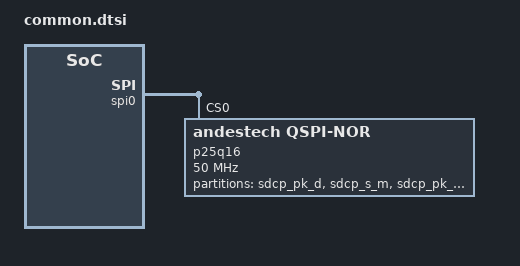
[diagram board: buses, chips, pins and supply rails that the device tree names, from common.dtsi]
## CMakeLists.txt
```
# Copyright 2025 The ChromiumOS Authors
# Use of this source code is governed by a BSD-style license that can be
# found in the LICENSE file.
# SPDX-License-Identifier: Apache-2.0

set(EXPECTED_ROLLBACK_VERSION 0)

if(NOT CONFIG_PLATFORM_EC_ROLLBACK_VERSION EQUAL EXPECTED_ROLLBACK_VERSION)
	message(FATAL_ERROR "Rollback version has changed! Expected ${EXPECTED_ROLLBACK_VERSION}, but ${CONFIG_PLATFORM_EC_ROLLBACK_VERSION} is set.")
endif()

zephyr_library_sources("src/platform.c")
zephyr_library_sources("src/flash_qspi.c")

if(DEFINED CONFIG_CROS_EC_RO)

set(flash_header_output_bin ${CMAKE_BINARY_DIR}/flash_header.bin)
zephyr_file_copy(flash_header.bin ${flash_header_output_bin})

endif()
```

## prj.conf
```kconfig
# Copyright 2025 The ChromiumOS Authors
# Use of this source code is governed by a BSD-style license that can be
# found in the LICENSE file.

CONFIG_BOARD_ET171=y

CONFIG_PLATFORM_EC_NOINIT_END_OF_RAM_SECTION=n
CONFIG_PLATFORM_EC_FLASH_SIZE_BYTES=200000
CONFIG_XIP=y

# Do not use partition for code, because the code location is different for RO
# and RW
CONFIG_USE_DT_CODE_PARTITION=n

CONFIG_EXCEPTION_DEBUG=y
CONFIG_PLATFORM_EC_ROLLBACK_MPU_PROTECT=y

# Watchdog related configs
# Maximum watchdog period for atcwdt200 is 500ms. Many operations in the FP
# application takes hundreds of milliseconds or even more, e.g. RWSIG, flash
# operations, FP related calculations. Combining such two actions in series
# would lead to watchdog reset, thus we are forced to disable watchdog.
CONFIG_WDT_DISABLE_AT_BOOT=y
# The tick hook is used only for watchdog reload for FPMCU
CONFIG_PLATFORM_EC_HOOK_TICK=n

# Enable USB for HC
CONFIG_UDC_DRIVER=y
CONFIG_USB_DEVICE_STACK_NEXT=y
# 2kB looks sufficient, but add additional margin for future changes
CONFIG_UDC_BUF_POOL_SIZE=3072
CONFIG_USBD_THREAD_STACK_SIZE=2048
CONFIG_UDC_ET171_WORKQUEUE_STACK_SIZE=2048
CONFIG_SYSTEM_WORKQUEUE_STACK_SIZE=2048
CONFIG_USB_DEVICE_MAX_POWER=250

CONFIG_USB_DEVICE_MANUFACTURER="Google"
CONFIG_USB_DEVICE_PRODUCT="FPMCU"
CONFIG_USB_DEVICE_VID=0x18D1
CONFIG_USB_DEVICE_SELF_POWERED=n
CONFIG_USB_DEVICE_REMOTE_WAKEUP=y
CONFIG_USB_DEVICE_SN="0"
CONFIG_USB_DEVICE_SN_HWINFO=y

# Use USB for signaling MKBP events
CONFIG_PLATFORM_EC_MKBP_USE_GPIO=n
CONFIG_PLATFORM_EC_MKBP_USE_USB=y

# Sizes adjusted for 512 bytes payload for write and read flash host commands
CONFIG_EC_HOST_CMD_HANDLER_RX_BUFFER_SIZE=528
CONFIG_EC_HOST_CMD_HANDLER_TX_BUFFER_SIZE=520

CONFIG_FPU_SHARING=n
CONFIG_FLOAT_HARD=y

# SPI/Flash related configs
CONFIG_SPI_NOR=n
CONFIG_FLASH_ANDES_QSPI=n
CONFIG_FLASH_ANDES_QSPI_XIP_COUNT_REGS=y
CONFIG_HEAP_MEM_POOL_SIZE=1024

# BBRAM not supported on ET171, use RAM instead
CONFIG_BBRAM=n
CONFIG_RETAINED_MEM=y
CONFIG_RETAINED_MEM_INIT_PRIORITY=15
CONFIG_CACHE_ANDES_INIT_PRIORITY=10
CONFIG_RETAINED_MEM_MUTEX_FORCE_DISABLE=y

# Use standar 0.1ms tick
CONFIG_SYS_CLOCK_TICKS_PER_SEC=10000

# No access to hardware WP pin, use external method
CONFIG_PLATFORM_EC_WP_EXTERNAL=y

# FPS related configs
CONFIG_FINGERPRINT_SENSOR_EGIS630_HEAP_SIZE=153600

# Enable the fp vendor command to get MT data
CONFIG_PLATFORM_EC_FINGERPRINT_VENDOR_COMMAND=y

# Make possibility to enter bootloader
CONFIG_PLATFORM_EC_HOST_COMMAND_ENTER_BOOTLOADER=y

# Disable kernel shell, becasue it requires addtional 5kB of flash
CONFIG_KERNEL_SHELL=n

# The flash shell requires page layout which is not supported
CONFIG_FLASH_SHELL=n

# Make sure to start shell before main
CONFIG_PLATFORM_EC_CONSOLE_START_SHELL_TASK=y

# RISCV PMP entry configurations
# b/406946889: Allow modifying PMP entries so that we can reconfigure them
# when jumping between RO and RW.
CONFIG_PMP_NO_LOCK_GLOBAL=y
CONFIG_NULL_POINTER_EXCEPTION_DETECTION_PMP=y
CONFIG_HW_STACK_PROTECTION=y

# Use EGIS ET171's secure OTP storage for keys.
CONFIG_EGIS_ET171_OTP_KEY=y

# Current rollback version value.
CONFIG_PLATFORM_EC_ROLLBACK_VERSION=2

# ASCP s_goog replacement
CONFIG_ASCP_S_GOOG_MATCH_FILE="s_goog_match.bin"
CONFIG_ASCP_S_GOOG_REPLACE_FILE="s_goog_replace.bin"

# Enable signaling logs via events to allow autosuspend
CONFIG_PLATFORM_EC_HOSTCMD_CONSOLE_EVENT=y

# Enable ChromeOS EC log backend for UART shell and timberslide
CONFIG_PLATFORM_EC_LOG_BACKEND_CONSOLE_BUFFER=n
CONFIG_PLATFORM_EC_LOG_BACKEND_CONSOLE_BUFFER_REDUCED=n
CONFIG_PLATFORM_EC_LOG_BACKEND_CROS_EC=y
CONFIG_PLATFORM_EC_LOG_BACKEND_CROS_EC_REDUCED=y
```

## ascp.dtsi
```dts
/* Copyright 2026 The ChromiumOS Authors.
 * Use of this source code is governed by a BSD-style license that can be
 * found in the LICENSE file.
 */

/ {
	ascp: ascp_node {
		compatible = "ascp,mem-map";
		pk-m = <0x80000138>;
		s-goog = <0x80000179>;
		pk-d = <0x80000035>;
		s-m = <0x80000076>;
		pk-f = <0x90000060>;
		h-f = <0x90000000>;
		s-d = <0x90000020>;
		sk-f = <0x900000A1>;
	};
};
```

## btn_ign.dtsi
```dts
/* Copyright 2026 The ChromiumOS Authors
 * Use of this source code is governed by a BSD-style license that can be
 * found in the LICENSE file.
 */

/ {
	aliases {
		gpio-btn-ign-out = &gpio_btn_ign_out;
	};

	gpio-leds {
		compatible = "gpio-leds"; /* Common pattern in Zephyr for GPIO outputs */

		gpio_btn_ign_out: gpio_btn_ign_out {
			gpios = <&gpio0 2 GPIO_ACTIVE_HIGH>;
		};
	};
};
```

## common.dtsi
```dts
/* Copyright 2025 The ChromiumOS Authors.
 * Use of this source code is governed by a BSD-style license that can be
 * found in the LICENSE file.
 */

#include <egis/common_priv.dtsi>
#include <zephyr/dt-bindings/memory-attr/memory-attr-riscv.h>

#include "soc.dtsi"
#include "gpio.dtsi"
#include "rwsig.dtsi"
//#include "ascp.dtsi"

#include <cros/integrated_fwid.dtsi>
#include <cros/integrated_ro_frid.dtsi>

/ {
	chosen {
		cros-fp,fingerprint-sensor = &fp_sensor;
		cros-ec,flash = &p25q16;
		zephyr,flash = &p25q16;
		zephyr,flash-controller = &p25q16;
		flash-header = &flash_header;
	};

	named-bbram-regions {
		compatible = "named-bbram-regions";

		scratchpad {
			offset = <0x00>;
			size = <0x02>;
		};
		saved-reset-flags {
			offset = <0x02>;
			size = <0x04>;
		};
		saved-panic-reason {
			offset = <0x06>;
			size = <0x02>;
		};
		saved-panic-info {
			offset = <0x08>;
			size = <0x02>;
		};
		saved-panic-exception {
			offset = <0x0a>;
			size = <0x02>;
		};
		saved-panic-flags {
			offset = <0x0c>;
			size = <0x02>;
		};
	};


	/* Map the sections to fit the flash chip protection table */
	binman {
		/* SDCP flash header 4kB */

		/* Fill 1/4 of 1MB */
		wp-ro {
			size = <0x40000>;
			flash-header {
				offset = <0x0>;
				size = <0x1000>;
				type = "blob";
				filename = "../build-ro/flash_header.bin";
			};
			ec-ro {
				offset = <0x1000>;
				size = <(0x40000 - 0x1000)>;
				pad-byte = <0xff>;
				ro-fw {
					/*
					 * Clang doesn't emit STT_SECTION symbols (also
					 * called 'section symbols'), so 'rom_start'
					 * symbol is not available. Fortunately, Zephyr
					 * linker scripts provide '__rom_start_address'
					 * symbol which points to the beginning of
					 * 'rom_start' section.
					 */
					elf-base-sym = "__rom_start_address";
				};
			};
		};

		/* Use the rest for RW + Rollbacks. Erase unit(4kB) per rollback */
		rollback0 {
			offset = <0x40000>;
			size = <0x1000>;
			type = "blob";
			filename = "../build-rw/rollback_initial_data.bin";
		};

		rollback1 {
			offset = <0x41000>;
			size = <0x1000>;
			type = "blob";
			filename = "../build-rw/rollback_initial_data.bin";
		};

		ec-rw {
			offset = <0x42000>;
			size = <0xbe000>;
			rw-fw {
				/*
				 * Clang doesn't emit STT_SECTION symbols (also
				 * called 'section symbols'), so 'rom_start'
				 * symbol is not available. Fortunately, Zephyr
				 * linker scripts provide '__rom_start_address'
				 * symbol which points to the beginning of
				 * 'rom_start' section.
				 */
				zephyr-rw {
					elf-base-sym = "__rom_start_address";
				};
			};
		};
		pad-byte = <0xff>;
	};
};

&spi0 {
	p25q16: qspi-nor-flash@0 {
		compatible = "andestech,qspi-nor", "jedec,spi-nor";
		reg = <0>;
		spi-max-frequency = <50000000>;
		size = <DT_SIZE_K(2048)>;
		spi-frequency = <50000000>;
		status = "okay";
	};
};

&p25q16 {
	partitions {
		compatible = "fixed-partitions";
		#address-cells = <1>;
		#size-cells = <1>;

		sdcp_pk_d: partition@35 {
			label = "sdcp_pk_d";
			reg = <0x35 65>;
		};

		sdcp_s_m: partition@76 {
			label = "sdcp_s_m";
			reg = <0x76 64>;
		};

		sdcp_pk_m: partition@138 {
			label = "sdcp_pk_m";
			reg = <0x138 65>;
		};

		sdcp_s_goog: partition@179 {
			label = "sdcp_s_goog";
			reg = <0x179 64>;
		};

		mt_data: partition@1b9 {
			label = "mt_data";
			reg = <0x1b9 128>;
		};

		rollback0: partition@40000 {
			label = "rollback0";
			reg = <0x40000 DT_SIZE_K(4)>;
		};

		rollback1: partition@41000 {
			label = "rollback1";
			reg = <0x41000 DT_SIZE_K(4)>;
		};
	};
};

/ {
	rollback: rollback@80040000 {
		compatible = "zephyr,memory-region";
		reg = <0x80040000 DT_SIZE_K(8)>;
		zephyr,memory-region = "ROLLBACK_REGION";
		/*
		 * This region is only used in M-mode, not U-mode. It has no
		 * access permissions (no read, no write, and no execute) unless
		 * unlocked, at which point read and write access are enabled.
		 */
		zephyr,memory-attr = <(DT_MEM_RISCV_TYPE_EMPTY)>;
	};
};
```

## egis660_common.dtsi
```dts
/* Copyright 2026 The ChromiumOS Authors.
 * Use of this source code is governed by a BSD-style license that can be
 * found in the LICENSE file.
 */

/* Common DTSI for ET171 projects using EGIS660 sensor.
 * Contains partitions specific to EGIS660 (e.g. apns_data).
 */

&p25q16 {
	partitions {
		egis660_apns_data: partition@100000 {
			label = "egis660_apns_data";
			reg = <0x100000 DT_SIZE_K(52)>;
		};
	};
};
```

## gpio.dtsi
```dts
/* Copyright 2023 The ChromiumOS Authors.
 * Use of this source code is governed by a BSD-style license that can be
 * found in the LICENSE file.
 */

#include <dt-bindings/gpio_defines.h>

/ {
	named-gpios {
		compatible = "named-gpios";

		entering-rw {
			enum-name = "GPIO_ENTERING_RW";
		};

		gpio_btn_ign_out: gpio_btn_ign_out {
			gpios = <&gpio0 2 GPIO_OUTPUT_INACTIVE>;
		};
	};
};
```

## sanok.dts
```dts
/* Copyright 2025 The ChromiumOS Authors.
 * Use of this source code is governed by a BSD-style license that can be
 * found in the LICENSE file.
 */

#include "common.dtsi"

#define EGIS630_TEST_IMAGE_PROPS \
	width = <80>; \
	height = <64>; \
	bits-per-pixel = <16>; \
	frame-size = <10240>; \
	image-data-offset-bytes = <0>; \
	v4l2-pixel-format = "V4L2_PIX_FMT_GREY";

#define EGIS630_IMAGE_COLLECTION_PROPS \
	width = <80>; \
	height = <64>; \
	bits-per-pixel = <8>; \
	frame-size = <26200>; \
	image-data-offset-bytes = <0>; \
	v4l2-pixel-format = "V4L2_PIX_FMT_GREY";

&spi1 {
	fp_sensor: egis630@0 {
		compatible = "egis,egis630";
		reg = <0>;
		spi-max-frequency = <4000000>;

		configs {
			compatible = "fingerprint-image-frame-params";
			config0 {
				EGIS630_IMAGE_COLLECTION_PROPS
				capture-type = "FINGERPRINT_CAPTURE_TYPE_SIMPLE_IMAGE";
			};
			config1 {
				EGIS630_TEST_IMAGE_PROPS
				capture-type = "FINGERPRINT_CAPTURE_TYPE_PATTERN0";
			};
			config2 {
				EGIS630_TEST_IMAGE_PROPS
				capture-type = "FINGERPRINT_CAPTURE_TYPE_PATTERN1";
			};
			config3 {
				EGIS630_TEST_IMAGE_PROPS
				capture-type = "FINGERPRINT_CAPTURE_TYPE_DEFECT_PXL_TEST";
			};
			config4 {
				EGIS630_TEST_IMAGE_PROPS
				capture-type = "FINGERPRINT_CAPTURE_TYPE_ABNORMAL_TEST";
			};
			config5 {
				EGIS630_TEST_IMAGE_PROPS
				capture-type = "FINGERPRINT_CAPTURE_TYPE_NOISE_TEST";
			};
			config6 {
				EGIS630_TEST_IMAGE_PROPS
				capture-type = "FINGERPRINT_CAPTURE_TYPE_QUALITY_TEST";
			};
			config7 {
				EGIS630_IMAGE_COLLECTION_PROPS
				capture-type = "FINGERPRINT_CAPTURE_TYPE_VENDOR_FORMAT";
			};
		};

		irq-gpios = <&gpio0 9 GPIO_ACTIVE_HIGH>;
		reset-gpios = <&gpio0 10 GPIO_ACTIVE_LOW>;
		calibration-data = <&mt_data>;
	};
};
```

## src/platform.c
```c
/* Copyright 2025 The ChromiumOS Authors
 * Use of this source code is governed by a BSD-style license that can be
 * found in the LICENSE file.
 */

#include "fpsensor/fpsensor.h"
#include "write_protect.h"

#include <zephyr/devicetree.h>
#include <zephyr/drivers/watchdog.h>

#define MT_DATA_OFF DT_REG_ADDR(DT_NODELABEL(mt_data))
struct mt_data {
	uint32_t size;
	uint8_t data[];
};

int fp_vendor_command(uint32_t param, uint8_t *buf, size_t buf_size)
{
	const struct mt_data *mt_data =
		(struct mt_data *)(CONFIG_FLASH_BASE_ADDRESS + MT_DATA_OFF);
	if (mt_data->size > buf_size) {
		return -EC_RES_RESPONSE_TOO_BIG;
	}
	memcpy(buf, (uint8_t *)mt_data->data, mt_data->size);

	return mt_data->size;
}

/* TODO(b/432682921): Change based on the final solution of WP state. */
bool write_protect_is_asserted_external(void)
{
	return false;
}

/* TODO: Remove once https://github.com/zephyrproject-rtos/zephyr/issues/104587
 * is resolved.
 */
static int disable_watchdog(void)
{
	const struct device *wdt_dev = DEVICE_DT_GET(DT_NODELABEL(wdt));

	return wdt_disable(wdt_dev);
}
SYS_INIT(disable_watchdog, POST_KERNEL, 0);
```
